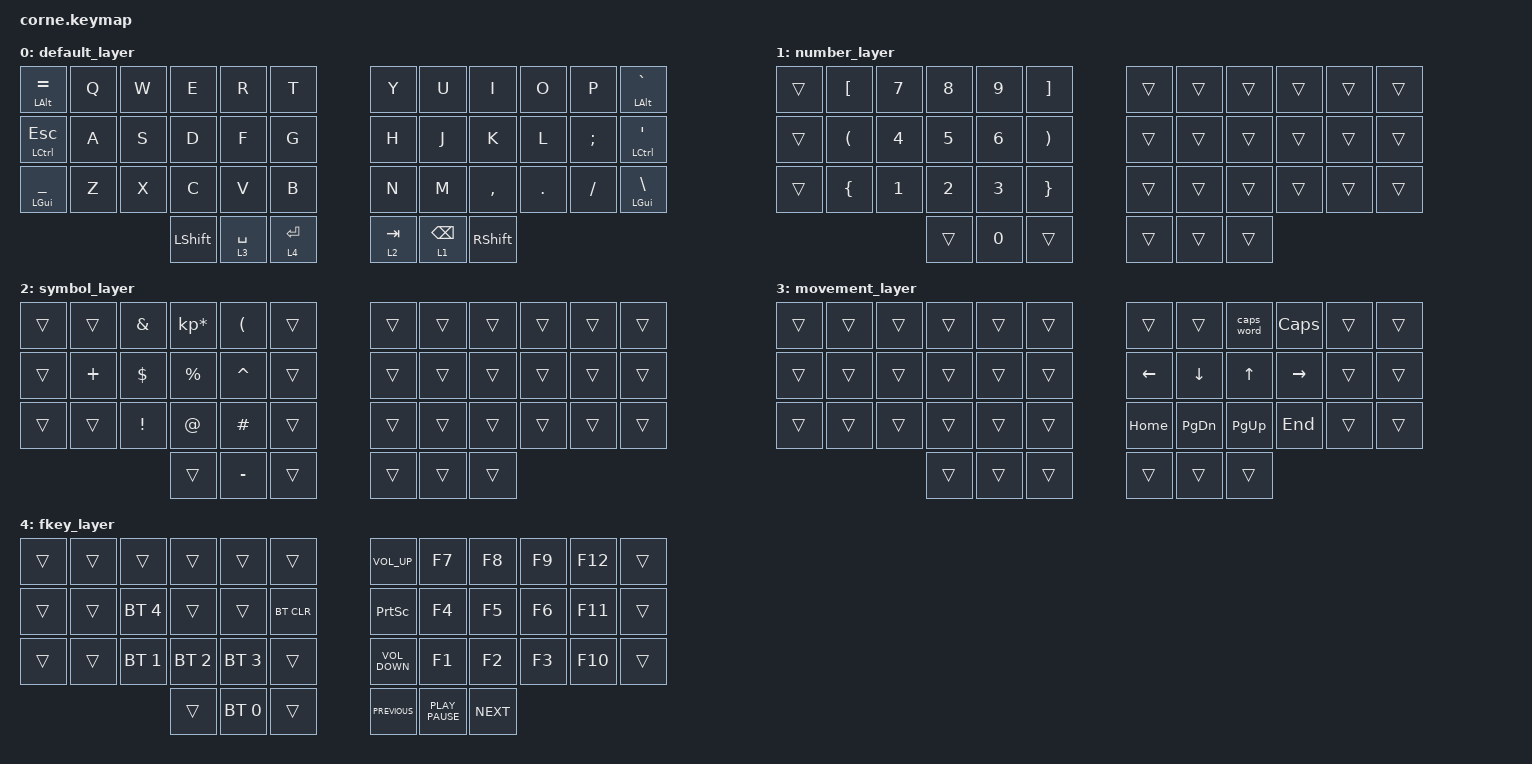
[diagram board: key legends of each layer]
/*
 * Copyright (c) 2020 The ZMK Contributors
 *
 * SPDX-License-Identifier: MIT
 */

#include <behaviors.dtsi>
#include <dt-bindings/zmk/bt.h>
#include <dt-bindings/zmk/keys.h>

&mt { flavor = "tap-preferred"; };

&lt { flavor = "balanced"; };

/ {
    behaviors {
        hold_preferred_mt: hold_preferred_mt {
            compatible = "zmk,behavior-hold-tap";
            label = "HOLD_PREFERRED_MT";
            bindings = <&kp>, <&kp>;

            #binding-cells = <2>;
            tapping-term-ms = <200>;
        };
    };

    keymap {
        compatible = "zmk,keymap";

        default_layer {
            // -----------------------------------------------------------------------------------------
            // |  TAB |  Q  |  W  |  E  |  R  |  T  |   |  Y  |  U   |  I  |  O  |  P  | BKSP |
            // | CTRL |  A  |  S  |  D  |  F  |  G  |   |  H  |  J   |  K  |  L  |  ;  |  '   |
            // | SHFT |  Z  |  X  |  C  |  V  |  B  |   |  N  |  M   |  ,  |  .  |  /  | ESC  |
            //                    | GUI | LWR | SPC |   | ENT | RSE  | ALT |

            bindings = <
&mt LEFT_ALT EQUAL                      &kp Q  &kp W  &kp E       &kp R        &kp T          &kp Y      &kp U            &kp I            &kp O    &kp P          &mt LEFT_ALT GRAVE
&hold_preferred_mt LEFT_CONTROL ESCAPE  &kp A  &kp S  &kp D       &kp F        &kp G          &kp H      &kp J            &kp K            &kp L    &kp SEMICOLON  &mt LEFT_CONTROL SINGLE_QUOTE
&mt LEFT_GUI UNDERSCORE                 &kp Z  &kp X  &kp C       &kp V        &kp B          &kp N      &kp M            &kp COMMA        &kp DOT  &kp FSLH       &mt LEFT_GUI BACKSLASH
                                                      &kp LSHIFT  &lt 3 SPACE  &lt 4 ENTER    &lt 2 TAB  &lt 1 BACKSPACE  &kp RIGHT_SHIFT
            >;
        };

        number_layer {
            // -----------------------------------------------------------------------------------------
            // |  TAB |  1  |  2  |  3  |  4  |  5  |   |  6  |  7  |  8  |  9  |  0  | BKSP |
            // | BTCLR| BT1 | BT2 | BT3 | BT4 | BT5 |   | LFT | DWN |  UP | RGT |     |      |
            // | SHFT |     |     |     |     |     |   |     |     |     |     |     |      |
            //                    | GUI |     | SPC |   | ENT |     | ALT |

            bindings = <
&trans  &kp LEFT_BRACKET      &kp N7        &kp N8        &kp N9        &kp RIGHT_BRACKET        &trans  &trans  &trans  &trans  &trans  &trans
&trans  &kp LEFT_PARENTHESIS  &kp NUMBER_4  &kp N5        &kp NUMBER_6  &kp RIGHT_PARENTHESIS    &trans  &trans  &trans  &trans  &trans  &trans
&trans  &kp LEFT_BRACE        &kp NUMBER_1  &kp NUMBER_2  &kp NUMBER_3  &kp RIGHT_BRACE          &trans  &trans  &trans  &trans  &trans  &trans
                                            &trans        &kp N0        &trans                   &trans  &trans  &trans
            >;
        };

        symbol_layer {
            // -----------------------------------------------------------------------------------------
            // |  TAB |  !  |  @  |  #  |  $  |  %  |   |  ^  |  &  |  *  |  (  |  )  | BKSP |
            // | CTRL |     |     |     |     |     |   |  -  |  =  |  [  |  ]  |  \  |  `   |
            // | SHFT |     |     |     |     |     |   |  _  |  +  |  {  |  }  | "|" |  ~   |
            //                    | GUI |     | SPC |   | ENT |     | ALT |

            bindings = <
&trans  &trans    &kp AMPERSAND  &kp KP_MULTIPLY  &kp LEFT_PARENTHESIS  &trans    &trans  &trans  &trans  &trans  &trans  &trans
&trans  &kp PLUS  &kp DOLLAR     &kp PERCENT      &kp CARET             &trans    &trans  &trans  &trans  &trans  &trans  &trans
&trans  &trans    &kp EXCL       &kp AT           &kp POUND             &trans    &trans  &trans  &trans  &trans  &trans  &trans
                                 &trans           &kp MINUS             &trans    &trans  &trans  &trans
            >;
        };

        movement_layer {
            bindings = <
&trans  &trans  &trans  &trans  &trans  &trans    &trans    &trans         &caps_word   &kp CAPSLOCK  &trans  &trans
&trans  &trans  &trans  &trans  &trans  &trans    &kp LEFT  &kp DOWN       &kp UP       &kp RIGHT     &trans  &trans
&trans  &trans  &trans  &trans  &trans  &trans    &kp HOME  &kp PAGE_DOWN  &kp PAGE_UP  &kp END       &trans  &trans
                        &trans  &trans  &trans    &trans    &trans         &trans
            >;
        };

        fkey_layer {
            bindings = <
&trans  &trans  &trans        &trans        &trans        &trans        &kp C_VOLUME_UP    &kp F7            &kp F8      &kp F9  &kp F12  &trans
&trans  &trans  &bt BT_SEL 4  &trans        &trans        &bt BT_CLR    &kp PRINTSCREEN    &kp F4            &kp F5      &kp F6  &kp F11  &trans
&trans  &trans  &bt BT_SEL 1  &bt BT_SEL 2  &bt BT_SEL 3  &trans        &kp C_VOLUME_DOWN  &kp F1            &kp F2      &kp F3  &kp F10  &trans
                              &trans        &bt BT_SEL 0  &trans        &kp K_PREVIOUS     &kp K_PLAY_PAUSE  &kp K_NEXT
            >;
        };
    };
};
